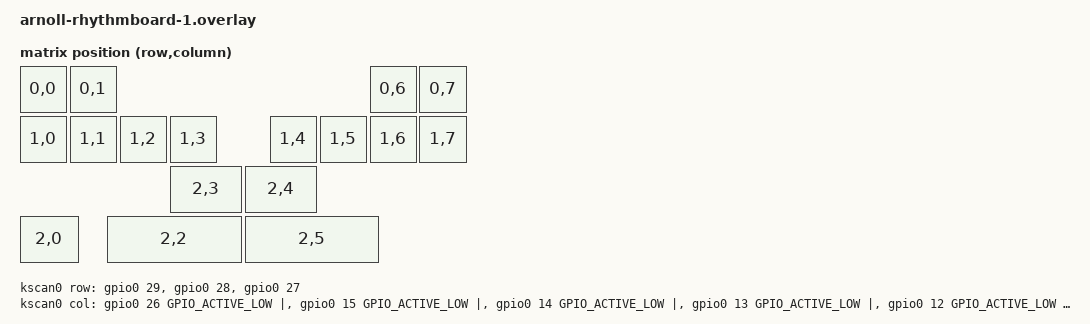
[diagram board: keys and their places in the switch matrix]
#include <dt-bindings/zmk/matrix_transform.h>
#include <physical_layouts.dtsi>

&adc {
    status = "disabled";
}; // Trying to bring back pin 29

/ {
    chosen {
		zmk,physical-layout = &physical_layout0;
		zmk,kscan = &kscan0;
	};

    vsys {
        status = "disabled";
    }; // Trying to bring back pin 29

    default_transform: keymap_transform0 { 
        compatible = "zmk,matrix-transform";
        columns = <8>; // Length of the "col-gpios" array
        rows = <3>; // Length of the "row-gpios" array
        map = <
            RC(0,0) RC(0,1)                                 RC(0,6) RC(0,7)
            RC(1,0) RC(1,1) RC(1,2) RC(1,3) RC(1,4) RC(1,5) RC(1,6) RC(1,7)
            RC(2,0)         RC(2,2) RC(2,3) RC(2,4) RC(2,5)
        >;
    };

    kscan0: kscan0 {
        compatible = "zmk,kscan-gpio-matrix";
        diode-direction = "row2col";
        wakeup-source;
        
        col-gpios
            = <&gpio0 26 GPIO_ACTIVE_LOW | GPIO_PULL_UP>
            , <&gpio0 15 GPIO_ACTIVE_LOW | GPIO_PULL_UP>
            , <&gpio0 14 GPIO_ACTIVE_LOW | GPIO_PULL_UP>
            , <&gpio0 13 GPIO_ACTIVE_LOW | GPIO_PULL_UP>
            , <&gpio0 12 GPIO_ACTIVE_LOW | GPIO_PULL_UP>
            , <&gpio0 11 GPIO_ACTIVE_LOW | GPIO_PULL_UP>
            , <&gpio0 10 GPIO_ACTIVE_LOW | GPIO_PULL_UP>
            , <&gpio0  9 GPIO_ACTIVE_LOW | GPIO_PULL_UP> 
            ;

        row-gpios
            = <&gpio0 29 (GPIO_ACTIVE_LOW)>
            , <&gpio0 28 (GPIO_ACTIVE_LOW)>
            , <&gpio0 27 (GPIO_ACTIVE_LOW)>
            ;
    };

    physical_layout0: physical_layout0 {
        compatible = "zmk,physical-layout";
        display-name = "Default Layout";
        transform = <&default_transform>;
        kscan = <&kscan0>;
        keys  //                     w   h    x    y     rot    rx    ry
            = <&key_physical_attrs 100 100    0    0       0     0     0>
            , <&key_physical_attrs 100 100  100    0       0     0     0>
            , <&key_physical_attrs 100 100  700    0       0     0     0>
            , <&key_physical_attrs 100 100  800    0       0     0     0>

            , <&key_physical_attrs 100 100    0  100       0     0     0>
            , <&key_physical_attrs 100 100  100  100       0     0     0>
            , <&key_physical_attrs 100 100  200  100       0     0     0>
            , <&key_physical_attrs 100 100  300  100       0     0     0>
            , <&key_physical_attrs 100 100  500  100       0     0     0>
            , <&key_physical_attrs 100 100  600  100       0     0     0>
            , <&key_physical_attrs 100 100  700  100       0     0     0>
            , <&key_physical_attrs 100 100  800  100       0     0     0>

            , <&key_physical_attrs 125 100    0  300       0     0     0>
            , <&key_physical_attrs 275 100  175  300       0     0     0>
            , <&key_physical_attrs 150 100  300  200       0     0     0>
            , <&key_physical_attrs 150 100  450  200       0     0     0>
            , <&key_physical_attrs 275 100  450  300       0     0     0>
            ;
        };

    position_map {
        compatible = "zmk,physical-layout-position-map";
        complete; // Optional, see 'Example non-complete position map'
        layout1: layout1 {
            physical-layout = <&physical_layout0>;
            positions = <  0  1                 2  3 >,
                        <  4  5  6  7     8  9 10 11 >,
                        < 12      13 14 15 16        >
                        ; // List of positions to map
        };
    };
};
